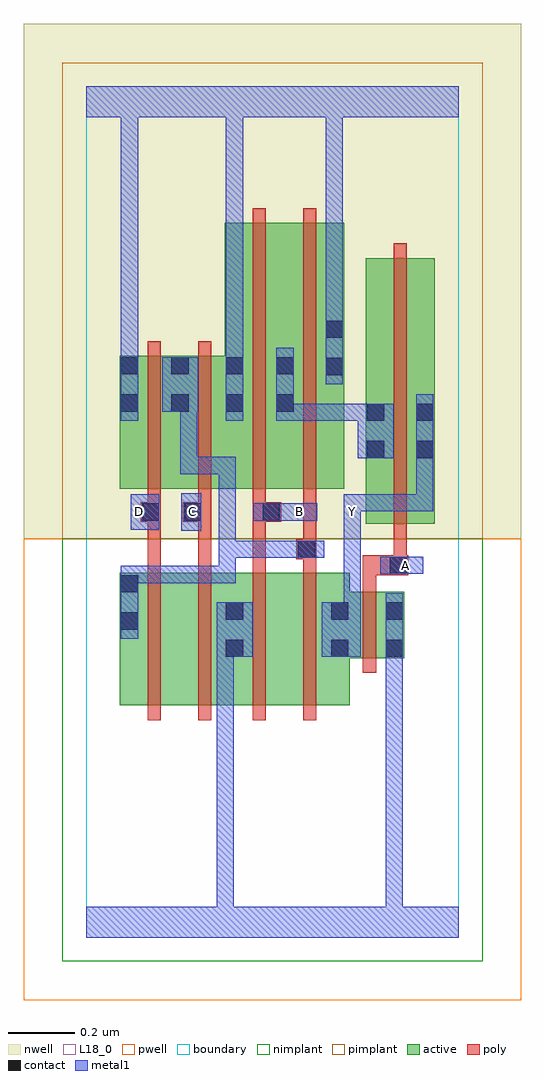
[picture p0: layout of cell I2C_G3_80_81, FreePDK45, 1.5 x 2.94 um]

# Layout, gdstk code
import gdstk
lib = gdstk.Library(unit=1e-6, precision=1e-09)
def R(c, l, rs):  # rectangles x0, y0, x1, y1
    for r in rs: c.add(gdstk.rectangle(r[:2], r[2:], *l))
active = (1, 0)
pwell = (2, 0)
nwell = (3, 0)
nimplant = (4, 0)
pimplant = (5, 0)
poly = (9, 0)
contact = (10, 0)
metal1 = (11, 0)
L18_0 = (18, 0)
boundary = (235, 0)

i2c_g3_80_81 = lib.new_cell('I2C_G3_80_81')
R(i2c_g3_80_81, active, [(0.1,0.698,0.28,1.098), (0.28,0.698,0.476,1.098), (0.416,0.698,0.596,1.098), (0.596,0.698,0.792,1.098), (0.732,0.698,0.792,1.012), (0.1,0.756,0.16,1.098), (0.416,0.756,0.476,1.098), (0.732,0.84,0.956,1.04), (0.896,0.84,0.956,1.04), (0.84,1.244,0.9,2.044), (0.84,1.244,1.048,2.044), (0.988,1.244,1.048,2.044), (0.1,1.35,0.16,1.75), (0.1,1.35,0.312,1.75), (0.252,1.35,0.312,1.75), (0.252,1.35,0.476,1.75), (0.416,1.35,0.628,2.15), (0.416,1.35,0.476,1.75), (0.568,1.35,0.776,2.15), (0.568,1.35,0.628,2.044), (0.716,1.35,0.776,2.044)])
R(i2c_g3_80_81, pwell, [(-0.188,-0.188,1.308,1.2)])
R(i2c_g3_80_81, nwell, [(-0.188,1.2,1.308,2.748)])
R(i2c_g3_80_81, nimplant, [(-0.072,-0.072,1.192,1.2)])
R(i2c_g3_80_81, pimplant, [(-0.072,1.2,1.192,2.632)])
R(i2c_g3_80_81, poly, [(0.184,0.654,0.224,1.142), (0.336,0.654,0.376,1.142), (0.5,0.654,0.54,1.142), (0.652,0.654,0.692,1.142), (0.832,0.796,0.872,1.084), (0.832,1.044,0.872,1.13), (0.832,1.09,0.968,1.15), (0.184,1.102,0.224,1.29), (0.336,1.102,0.376,1.29), (0.5,1.102,0.54,1.29), (0.652,1.102,0.692,1.178), (0.924,1.11,0.964,1.24), (0.924,1.11,0.964,1.15), (0.924,1.11,0.964,1.15), (0.632,1.138,0.692,1.198), (0.652,1.158,0.692,1.198), (0.652,1.158,0.692,1.198), (0.652,1.158,0.692,1.346), (0.924,1.2,0.964,2.088), (0.164,1.25,0.224,1.31), (0.184,1.25,0.224,1.29), (0.184,1.25,0.224,1.29), (0.29,1.25,0.376,1.31), (0.5,1.25,0.54,1.29), (0.5,1.25,0.54,1.29), (0.5,1.25,0.586,1.31), (0.184,1.27,0.224,1.346), (0.336,1.27,0.376,1.31), (0.336,1.27,0.376,1.31), (0.336,1.27,0.376,1.346), (0.5,1.27,0.54,1.346), (0.184,1.306,0.224,1.794), (0.336,1.306,0.376,1.794), (0.5,1.306,0.54,2.194), (0.652,1.306,0.692,2.194)])
R(i2c_g3_80_81, contact, [(0.42,0.844,0.472,0.896), (0.736,0.844,0.788,0.896), (0.9,0.844,0.952,0.896), (0.104,0.926,0.156,0.978), (0.42,0.956,0.472,1.008), (0.736,0.956,0.788,1.008), (0.9,0.956,0.952,1.008), (0.104,1.038,0.156,1.09), (0.912,1.094,0.964,1.146), (0.636,1.142,0.688,1.194), (0.168,1.254,0.22,1.306), (0.294,1.254,0.346,1.306), (0.53,1.254,0.582,1.306), (0.844,1.442,0.896,1.494), (0.992,1.442,1.044,1.494), (0.844,1.554,0.896,1.606), (0.992,1.554,1.044,1.606), (0.104,1.582,0.156,1.634), (0.256,1.582,0.308,1.634), (0.42,1.582,0.472,1.634), (0.572,1.582,0.624,1.634), (0.72,1.692,0.772,1.744), (0.104,1.694,0.156,1.746), (0.256,1.694,0.308,1.746), (0.42,1.694,0.472,1.746), (0.572,1.694,0.624,1.746), (0.72,1.804,0.772,1.856)])
R(i2c_g3_80_81, metal1, [(0,0,1.12,0.092), (0.392,0.04,0.444,0.092), (0.392,0.04,0.444,0.092), (0.392,0.04,0.444,0.092), (0.392,0.04,0.444,0.092), (0.392,0.04,0.444,0.092), (0.392,0.04,0.444,0.092), (0.392,0.04,0.444,0.092), (0.392,0.04,0.444,0.092), (0.392,0.04,0.444,0.896), (0.9,0.04,0.952,0.868), (0.9,0.816,0.952,1.036), (0.9,0.816,0.952,0.868), (0.9,0.816,0.952,0.868), (0.9,0.816,0.952,0.868), (0.9,0.816,0.952,0.868), (0.9,0.816,0.952,0.868), (0.9,0.816,0.952,0.868), (0.9,0.816,0.952,0.868), (0.9,0.816,0.952,0.868), (0.9,0.816,0.952,0.868), (0.9,0.816,0.952,0.868), (0.9,0.816,0.952,0.868), (0.9,0.816,0.952,0.868), (0.9,0.816,0.952,0.868), (0.9,0.816,0.952,0.868), (0.9,0.816,0.952,0.868), (0.9,0.816,0.952,0.868), (0.392,0.844,0.444,0.896), (0.392,0.844,0.444,0.896), (0.392,0.844,0.444,0.896), (0.392,0.844,0.444,0.896), (0.392,0.844,0.5,1.008), (0.708,0.844,0.826,1.008), (0.104,0.898,0.156,1.118), (0.774,0.956,0.826,1.278), (0.104,1.066,0.156,1.118), (0.104,1.066,0.156,1.118), (0.104,1.066,0.334,1.118), (0.282,1.066,0.334,1.118), (0.282,1.066,0.334,1.118), (0.282,1.066,0.334,1.118), (0.282,1.066,0.45,1.118), (0.398,1.066,0.45,1.118), (0.398,1.066,0.45,1.194), (0.884,1.094,1.014,1.146), (0.398,1.142,0.45,1.194), (0.398,1.142,0.456,1.194), (0.398,1.142,0.45,1.446), (0.404,1.142,0.456,1.194), (0.404,1.142,0.56,1.194), (0.508,1.142,0.56,1.194), (0.508,1.142,0.66,1.194), (0.608,1.142,0.716,1.194), (0.286,1.224,0.346,1.336), (0.134,1.226,0.22,1.334), (0.774,1.226,0.826,1.334), (0.502,1.254,0.694,1.306), (0.774,1.282,0.826,1.334), (0.774,1.282,0.826,1.334), (0.774,1.282,1.044,1.334), (0.992,1.282,1.044,1.466), (0.992,1.282,1.044,1.334), (0.992,1.282,1.044,1.334), (0.992,1.282,1.044,1.334), (0.282,1.394,0.334,1.446), (0.282,1.394,0.334,1.446), (0.282,1.394,0.334,1.446), (0.282,1.394,0.45,1.446), (0.282,1.394,0.334,1.634), (0.398,1.394,0.45,1.446), (0.992,1.414,1.044,1.634), (0.816,1.442,0.924,1.606), (0.104,1.554,0.156,1.774), (0.42,1.554,0.472,1.774), (0.572,1.554,0.624,1.774), (0.572,1.554,0.624,1.606), (0.572,1.554,0.624,1.606), (0.572,1.554,0.734,1.606), (0.682,1.554,0.734,1.606), (0.682,1.554,0.868,1.606), (0.228,1.582,0.336,1.746), (0.72,1.664,0.772,1.884), (0.104,1.722,0.156,1.774), (0.104,1.722,0.156,1.774), (0.104,1.722,0.156,1.774), (0.104,1.722,0.156,1.774), (0.104,1.722,0.156,1.774), (0.104,1.722,0.156,1.774), (0.104,1.722,0.156,1.774), (0.104,1.722,0.156,1.774), (0.104,1.722,0.156,1.774), (0.104,1.722,0.156,1.774), (0.104,1.722,0.156,1.774), (0.104,1.722,0.156,1.774), (0.104,1.722,0.156,1.774), (0.104,1.722,0.156,1.774), (0.104,1.722,0.156,1.774), (0.104,1.722,0.156,1.774), (0.104,1.722,0.156,2.52), (0.42,1.722,0.472,1.774), (0.42,1.722,0.472,1.774), (0.42,1.722,0.472,1.774), (0.42,1.722,0.472,1.774), (0.42,1.722,0.472,1.774), (0.42,1.722,0.472,1.774), (0.42,1.722,0.472,1.774), (0.42,1.722,0.472,1.774), (0.42,1.722,0.472,2.52), (0.72,1.832,0.772,1.884), (0.72,1.832,0.772,1.884), (0.72,1.832,0.772,2.52), (0,2.468,1.12,2.56), (0.72,2.468,0.772,2.52), (0.72,2.468,0.772,2.52), (0.72,2.468,0.772,2.52), (0.72,2.468,0.772,2.52), (0.72,2.468,0.772,2.52), (0.72,2.468,0.772,2.52)])
R(i2c_g3_80_81, L18_0, [(0,0,1.12,0.092), (0.392,0.04,0.444,0.092), (0.392,0.04,0.444,0.092), (0.392,0.04,0.444,0.092), (0.392,0.04,0.444,0.092), (0.392,0.04,0.444,0.092), (0.392,0.04,0.444,0.092), (0.392,0.04,0.444,0.092), (0.392,0.04,0.444,0.092), (0.392,0.04,0.444,0.896), (0.9,0.04,0.952,0.868), (0.9,0.816,0.952,1.036), (0.9,0.816,0.952,0.868), (0.9,0.816,0.952,0.868), (0.9,0.816,0.952,0.868), (0.9,0.816,0.952,0.868), (0.9,0.816,0.952,0.868), (0.9,0.816,0.952,0.868), (0.9,0.816,0.952,0.868), (0.9,0.816,0.952,0.868), (0.9,0.816,0.952,0.868), (0.9,0.816,0.952,0.868), (0.9,0.816,0.952,0.868), (0.9,0.816,0.952,0.868), (0.9,0.816,0.952,0.868), (0.9,0.816,0.952,0.868), (0.9,0.816,0.952,0.868), (0.9,0.816,0.952,0.868), (0.392,0.844,0.444,0.896), (0.392,0.844,0.444,0.896), (0.392,0.844,0.444,0.896), (0.392,0.844,0.444,0.896), (0.392,0.844,0.5,1.008), (0.708,0.844,0.826,1.008), (0.774,0.956,0.826,1.278), (0.884,1.094,1.014,1.146), (0.934,1.094,0.986,1.146), (0.286,1.224,0.346,1.336), (0.134,1.226,0.22,1.334), (0.774,1.226,0.826,1.334), (0.134,1.254,0.186,1.306), (0.294,1.254,0.346,1.306), (0.502,1.254,0.694,1.306), (0.614,1.254,0.666,1.306), (0.774,1.254,0.826,1.306), (0.774,1.282,0.826,1.334), (0.774,1.282,0.826,1.334), (0.774,1.282,1.044,1.334), (0.992,1.282,1.044,1.334), (0.992,1.282,1.044,1.334), (0.992,1.282,1.044,1.334), (0.992,1.282,1.044,1.466), (0.992,1.414,1.044,1.634), (0.104,1.554,0.156,1.774), (0.42,1.554,0.472,1.774), (0.72,1.664,0.772,1.884), (0.104,1.722,0.156,1.774), (0.104,1.722,0.156,1.774), (0.104,1.722,0.156,1.774), (0.104,1.722,0.156,1.774), (0.104,1.722,0.156,1.774), (0.104,1.722,0.156,1.774), (0.104,1.722,0.156,1.774), (0.104,1.722,0.156,1.774), (0.104,1.722,0.156,1.774), (0.104,1.722,0.156,1.774), (0.104,1.722,0.156,1.774), (0.104,1.722,0.156,1.774), (0.104,1.722,0.156,1.774), (0.104,1.722,0.156,1.774), (0.104,1.722,0.156,1.774), (0.104,1.722,0.156,1.774), (0.104,1.722,0.156,2.52), (0.42,1.722,0.472,1.774), (0.42,1.722,0.472,1.774), (0.42,1.722,0.472,1.774), (0.42,1.722,0.472,1.774), (0.42,1.722,0.472,1.774), (0.42,1.722,0.472,1.774), (0.42,1.722,0.472,1.774), (0.42,1.722,0.472,1.774), (0.42,1.722,0.472,2.52), (0.72,1.832,0.772,1.884), (0.72,1.832,0.772,1.884), (0.72,1.832,0.772,2.52), (0,2.468,1.12,2.56), (0.72,2.468,0.772,2.52), (0.72,2.468,0.772,2.52), (0.72,2.468,0.772,2.52), (0.72,2.468,0.772,2.52), (0.72,2.468,0.772,2.52), (0.72,2.468,0.772,2.52)])
R(i2c_g3_80_81, boundary, [(0,0,1.12,2.56)])
i2c_g3_80_81.add(gdstk.Label('A', (0.96,1.12), layer=11, texttype=0))
i2c_g3_80_81.add(gdstk.Label('B', (0.64,1.28), layer=11, texttype=0))
i2c_g3_80_81.add(gdstk.Label('C', (0.32,1.28), layer=11, texttype=0))
i2c_g3_80_81.add(gdstk.Label('D', (0.16,1.28), layer=11, texttype=0))
i2c_g3_80_81.add(gdstk.Label('Y', (0.8,1.28), layer=11, texttype=0))

lib.write_gds('I2C_G3_80_81.gds')
